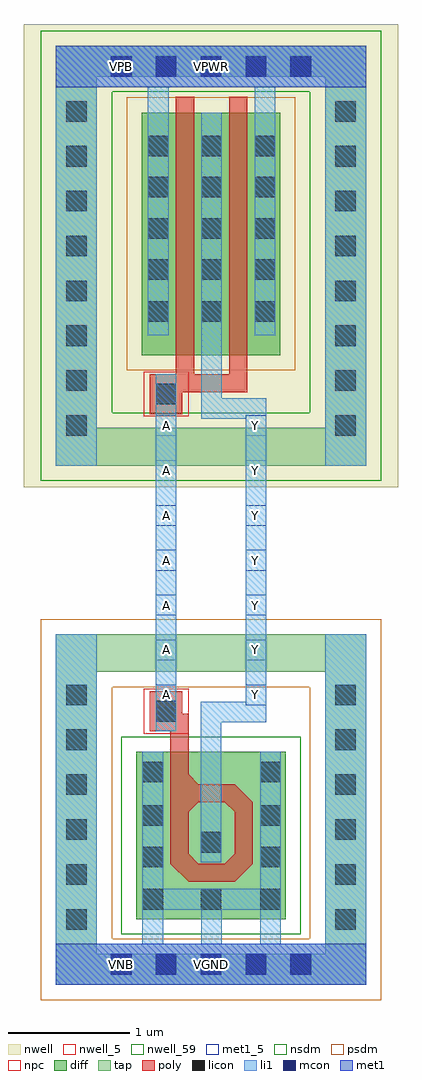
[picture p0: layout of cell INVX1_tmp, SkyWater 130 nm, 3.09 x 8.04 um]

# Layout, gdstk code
import gdstk
lib = gdstk.Library(unit=1e-6, precision=1e-09)
def R(c, l, rs):  # rectangles x0, y0, x1, y1
    for r in rs: c.add(gdstk.rectangle(r[:2], r[2:], *l))
def A(c, l, x, y, w, h, nx, ny, dx, dy):  # array of equal rectangles
    R(c, l, [(x+i*dx, y+j*dy, x+i*dx+w, y+j*dy+h) for i in range(nx) for j in range(ny)])
def P(c, l, *ps):  # polygons
    for p in ps: c.add(gdstk.Polygon(p, *l))
nwell_5 = (64, 5)
nwell = (64, 20)
nwell_59 = (64, 59)
diff = (65, 20)
tap = (65, 44)
poly = (66, 20)
licon = (66, 44)
li1 = (67, 20)
mcon = (67, 44)
met1_5 = (68, 5)
met1 = (68, 20)
nsdm = (93, 44)
psdm = (94, 20)
npc = (95, 20)

invx1_tmp = lib.new_cell('INVX1_tmp')
R(invx1_tmp, nwell_5, [(0.285,7.315,0.455,7.485)])
R(invx1_tmp, nwell, [(-0.435,3.93,2.655,7.75)])
R(invx1_tmp, nwell_59, [(0.285,-0.085,0.455,0.085)])
R(invx1_tmp, diff, [(0.495,0.37,1.725,1.75), (0.54,5.02,1.68,7.02)])
R(invx1_tmp, tap, [(-0.17,-0.17,2.39,0.085), (-0.17,0.085,0.17,2.41), (2.05,0.085,2.39,2.41), (-0.17,2.41,2.39,2.72), (-0.17,4.11,2.39,4.42), (-0.17,4.42,0.17,7.315), (2.05,4.42,2.39,7.315), (-0.17,7.315,2.39,7.57)])
R(invx1_tmp, poly, [(0.925,0.68,1.305,0.83), (0.775,0.83,0.925,1.335), (1.305,0.83,1.455,1.335), (0.775,1.335,1.305,1.485), (0.775,1.485,0.925,1.92), (0.605,1.92,0.925,2.065), (0.605,2.065,0.875,2.25), (0.605,4.535,0.875,4.715), (0.605,4.715,1.41,4.865), (0.82,4.865,0.97,7.15), (1.26,4.865,1.41,7.15)])
P(invx1_tmp, poly, [(0.925,1.565),(0.925,1.485),(1.005,1.485)],
  [(1.305,1.485),(1.305,1.335),(1.455,1.335)],
  [(0.925,1.255),(0.925,1.335),(1.005,1.335)],
  [(1.225,1.335),(1.305,1.335),(1.305,1.255)],
  [(0.925,0.91),(0.925,0.83),(1.005,0.83)],
  [(1.225,0.83),(1.305,0.83),(1.305,0.91)],
  [(0.775,0.83),(0.925,0.83),(0.925,0.68)],
  [(1.305,0.68),(1.305,0.83),(1.455,0.83)])
A(invx1_tmp, licon, 0.285, -0.085, 0.17, 0.17, 5, 2, 0.37, 7.4)
A(invx1_tmp, licon, -0.085, 0.285, 0.17, 0.17, 1, 6, 0, 0.37)
A(invx1_tmp, licon, 2.135, 0.285, 0.17, 0.17, 1, 6, 0, 0.37)
A(invx1_tmp, licon, -0.085, 4.355, 0.17, 0.17, 1, 8, 0, 0.37)
A(invx1_tmp, licon, 2.135, 4.355, 0.17, 0.17, 1, 8, 0, 0.37)
A(invx1_tmp, licon, 0.59, 5.295, 0.17, 0.17, 3, 2, 0.44, 0.345)
A(invx1_tmp, licon, 0.59, 5.98, 0.17, 0.17, 3, 3, 0.44, 0.34)
R(invx1_tmp, licon, [(0.545,0.45,0.715,0.62), (1.025,0.45,1.195,0.62), (1.515,0.45,1.685,0.62), (0.545,0.8,0.715,0.97), (1.515,0.8,1.685,0.97), (1.025,0.92,1.195,1.09), (0.545,1.14,0.715,1.31), (1.515,1.14,1.685,1.31), (0.545,1.5,0.715,1.67), (1.515,1.5,1.685,1.67), (0.655,2,0.825,2.17), (0.655,4.615,0.825,4.785)])
A(invx1_tmp, li1, 0.545, 0.17, 0.17, 0.28, 3, 1, 0.485, 0)
R(invx1_tmp, li1, [(-0.17,-0.17,2.39,0.17), (-0.17,0.17,0.17,2.72), (2.05,0.17,2.39,2.72), (0.545,0.45,1.685,0.62), (0.545,0.62,0.715,1.75), (1.515,0.62,1.685,1.75), (1.025,0.84,1.195,1.995), (0.655,1.92,0.825,4.865), (1.025,1.995,1.565,2.165), (1.395,2.165,1.565,4.495), (-0.17,4.11,0.17,7.23), (2.05,4.11,2.39,7.23), (1.03,4.495,1.565,4.665), (1.03,4.665,1.2,7.02), (0.59,5.185,0.76,7.23), (1.47,5.185,1.64,7.23), (-0.17,7.23,2.39,7.57)])
A(invx1_tmp, mcon, 0.285, -0.085, 0.17, 0.17, 5, 2, 0.37, 7.4)
A(invx1_tmp, met1_5, 0.655, 2.135, 0.17, 0.17, 1, 7, 0, 0.37)
A(invx1_tmp, met1_5, 1.395, 2.135, 0.17, 0.17, 1, 7, 0, 0.37)
R(invx1_tmp, met1_5, [(-0.17,-0.17,2.39,0.17), (-0.17,7.23,2.39,7.57)])
R(invx1_tmp, met1, [(-0.17,-0.17,2.39,0.17), (-0.17,7.23,2.39,7.57)])
R(invx1_tmp, nsdm, [(0.37,0.245,1.85,1.875), (-0.295,3.985,2.515,4.545), (-0.295,4.545,0.295,7.19), (1.925,4.545,2.515,7.19), (-0.295,7.19,2.515,7.695)])
R(invx1_tmp, psdm, [(-0.295,-0.295,2.515,0.21), (-0.295,0.21,0.295,2.285), (1.925,0.21,2.515,2.285), (-0.295,2.285,2.515,2.845), (0.415,4.895,1.805,7.145)])
R(invx1_tmp, npc, [(0.555,1.9,0.925,2.27), (0.555,4.515,0.925,4.885)])
invx1_tmp.add(gdstk.Label('Y', (1.48,3.33), layer=68, texttype=5))
invx1_tmp.add(gdstk.Label('Y', (1.48,3.7), layer=68, texttype=5))
invx1_tmp.add(gdstk.Label('Y', (1.48,4.07), layer=68, texttype=5))
invx1_tmp.add(gdstk.Label('Y', (1.48,2.96), layer=68, texttype=5))
invx1_tmp.add(gdstk.Label('Y', (1.48,4.44), layer=68, texttype=5))
invx1_tmp.add(gdstk.Label('Y', (1.48,2.59), layer=68, texttype=5))
invx1_tmp.add(gdstk.Label('Y', (1.48,2.22), layer=68, texttype=5))
invx1_tmp.add(gdstk.Label('A', (0.74,3.33), layer=68, texttype=5))
invx1_tmp.add(gdstk.Label('A', (0.74,3.7), layer=68, texttype=5))
invx1_tmp.add(gdstk.Label('A', (0.74,4.07), layer=68, texttype=5))
invx1_tmp.add(gdstk.Label('A', (0.74,2.96), layer=68, texttype=5))
invx1_tmp.add(gdstk.Label('A', (0.74,4.44), layer=68, texttype=5))
invx1_tmp.add(gdstk.Label('A', (0.74,2.59), layer=68, texttype=5))
invx1_tmp.add(gdstk.Label('A', (0.74,2.22), layer=68, texttype=5))
invx1_tmp.add(gdstk.Label('VPWR', (1.11,7.4), layer=68, texttype=5))
invx1_tmp.add(gdstk.Label('VGND', (1.11,0), layer=68, texttype=5))
invx1_tmp.add(gdstk.Label('VPB', (0.37,7.4), layer=64, texttype=5))
invx1_tmp.add(gdstk.Label('VNB', (0.37,0), layer=64, texttype=59))

lib.write_gds('INVX1_tmp.gds')
